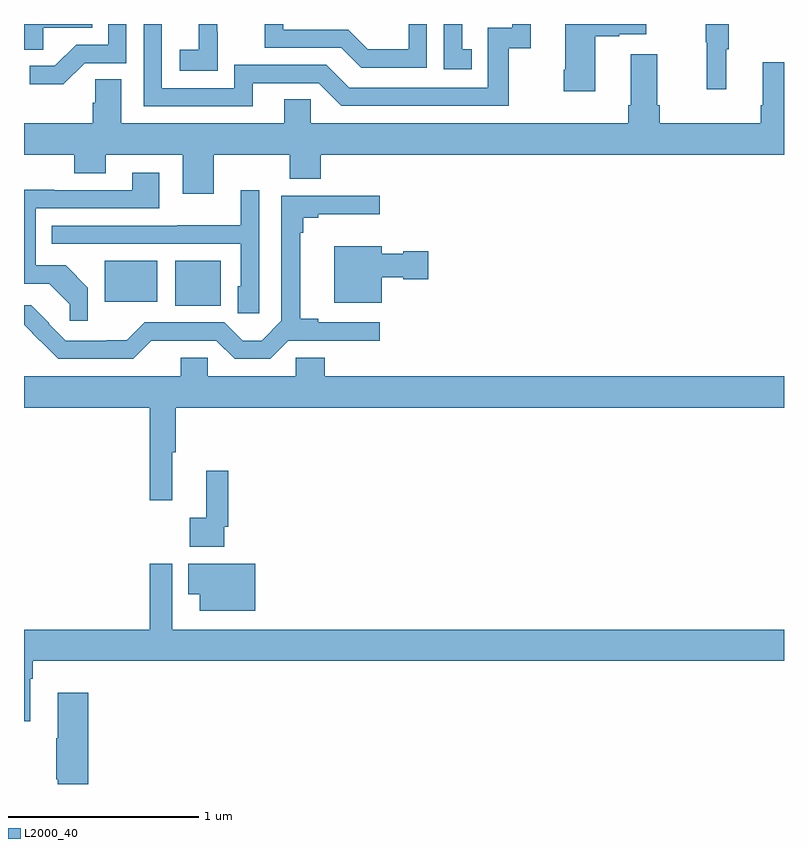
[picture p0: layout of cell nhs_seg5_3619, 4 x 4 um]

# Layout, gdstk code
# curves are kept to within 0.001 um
import gdstk
lib = gdstk.Library(unit=1e-6, precision=1e-09)
def R(c, l, rs):  # rectangles x0, y0, x1, y1
    for r in rs: c.add(gdstk.rectangle(r[:2], r[2:], *l))
def P(c, l, *ps):  # polygons
    for p in ps: c.add(gdstk.Polygon(p, *l))
L2000_40 = (2000, 40)

nhs_seg5_3619 = lib.new_cell('nhs_seg5_3619')
R(nhs_seg5_3619, L2000_40, [(325.796,837.317,326.035,837.553), (325.424,837.338,325.702,837.553)])
P(nhs_seg5_3619, L2000_40, [(325.101,838.778),(325.358,838.778),(325.358,838.799),(325,838.799),(325,838.663),(325.101,838.663)],
  [(328.697,838.667),(328.708,838.667),(328.708,838.799),(328.587,838.799),(328.587,838.704),(328.594,838.704),(328.594,838.455),(328.697,838.455)],
  [(327.356,838.665),(327.307,838.665),(327.307,838.799),(327.21,838.799),(327.21,838.56),(327.356,838.56)],
  [(326.203,838.488),(326.55,838.488),(326.67,838.368),(327.55,838.368),(327.55,838.671),(327.668,838.671),(327.668,838.799),(327.57,838.799),(327.57,838.779),(327.441,838.779),(327.441,838.464),(326.712,838.464),(326.592,838.584),(326.106,838.584),(326.106,838.461),(325.725,838.461),(325.725,838.799),(325.629,838.799),(325.629,838.365),(326.203,838.365)],
  [(327.12,838.799),(327.024,838.799),(327.024,838.666),(326.81,838.666),(326.706,838.77),(326.364,838.77),(326.364,838.799),(326.266,838.799),(326.266,838.674),(326.669,838.674),(326.774,838.569),(327.12,838.569)],
  [(325.32,838.593),(325.539,838.593),(325.539,838.799),(325.443,838.799),(325.443,838.689),(325.274,838.689),(325.163,838.578),(325.029,838.578),(325.029,838.481),(325.207,838.481)],
  [(326.019,838.759),(326.018,838.759),(326.018,838.799),(325.919,838.799),(325.919,838.663),(325.821,838.663),(325.821,838.553),(326.019,838.553)],
  [(328.006,838.735),(328.133,838.735),(328.133,838.745),(328.276,838.745),(328.276,838.799),(327.848,838.799),(327.848,838.558),(327.841,838.558),(327.841,838.446),(328.006,838.446)],
  [(325.999,838.112),(326.399,838.112),(326.399,837.984),(326.563,837.984),(326.563,838.112),(329,838.112),(329,838.597),(328.889,838.597),(328.889,838.372),(328.877,838.372),(328.877,838.276),(328.346,838.276),(328.346,838.372),(328.333,838.372),(328.333,838.639),(328.193,838.639),(328.193,838.372),(328.181,838.372),(328.181,838.276),(326.508,838.276),(326.508,838.403),(326.369,838.403),(326.369,838.276),(325.513,838.276),(325.513,838.508),(325.374,838.508),(325.374,838.385),(325.361,838.385),(325.361,838.276),(325,838.276),(325,838.112),(325.265,838.112),(325.265,838.013),(325.429,838.013),(325.429,838.112),(325.835,838.112),(325.835,837.906),(325.999,837.906)],
  [(325.335,837.412),(325.219,837.528),(325.062,837.528),(325.062,837.828),(325.711,837.828),(325.711,838.015),(325.571,838.015),(325.571,837.924),(325.159,837.924),(325.159,837.926),(325,837.926),(325,837.432),(325.132,837.432),(325.24,837.324),(325.24,837.237),(325.335,837.237)],
  [(326.238,837.925),(326.141,837.925),(326.141,837.739),(325.807,837.739),(325.807,837.738),(325.147,837.738),(325.147,837.642),(326.142,837.642),(326.142,837.42),(326.126,837.42),(326.126,837.277),(326.238,837.277)],
  [(325.67,837.131),(326.013,837.132),(326.109,837.036),(326.296,837.036),(326.392,837.132),(326.872,837.131),(326.872,837.228),(326.548,837.228),(326.548,837.248),(326.453,837.248),(326.453,837.701),(326.471,837.701),(326.471,837.778),(326.548,837.778),(326.548,837.797),(326.872,837.797),(326.872,837.896),(326.659,837.896),(326.659,837.894),(326.355,837.894),(326.355,837.237),(326.251,837.133),(326.15,837.133),(326.055,837.228),(325.635,837.228),(325.541,837.134),(325.436,837.134),(325.436,837.132),(325.221,837.132),(325.131,837.222),(325.133,837.224),(325.039,837.318),(325,837.318),(325,837.215),(325.181,837.036),(325.575,837.036)],
  [(326.884,837.467),(326.997,837.467),(326.997,837.455),(327.127,837.455),(327.127,837.602),(326.997,837.602),(326.997,837.589),(326.884,837.589),(326.884,837.628),(326.633,837.628),(326.633,837.332),(326.884,837.332)],
  [(325.781,836.544),(325.799,836.544),(325.799,836.78),(329,836.78),(329,836.944),(326.582,836.944),(326.582,837.042),(326.43,837.042),(326.43,836.944),(325.968,836.944),(325.968,837.042),(325.826,837.042),(325.826,836.944),(325,836.944),(325,836.78),(325.663,836.78),(325.663,836.292),(325.781,836.292)],
  [(326.055,836.152),(326.075,836.152),(326.075,836.449),(325.958,836.449),(325.958,836.201),(325.872,836.201),(325.872,836.048),(326.055,836.048)],
  [(325.033,835.352),(325.046,835.352),(325.046,835.448),(329,835.448),(329,835.612),(325.779,835.612),(325.779,835.957),(325.663,835.957),(325.663,835.612),(325,835.612),(325,835.128),(325.033,835.128)],
  [(326.218,835.957),(325.864,835.957),(325.864,835.799),(325.925,835.799),(325.925,835.712),(326.218,835.712)],
  [(325.337,835.279),(325.178,835.279),(325.178,835.04),(325.171,835.04),(325.171,834.823),(325.178,834.823),(325.178,834.799),(325.337,834.799)])

lib.write_gds('nhs_seg5_3619.gds')
